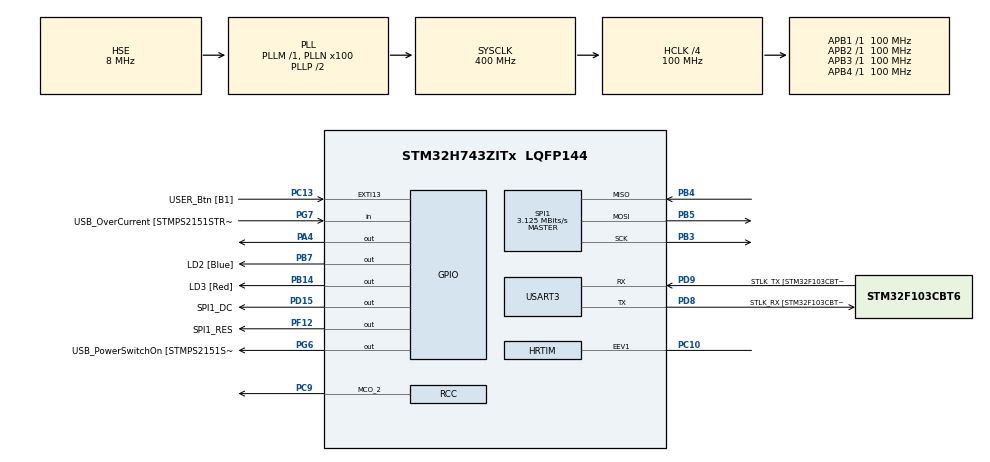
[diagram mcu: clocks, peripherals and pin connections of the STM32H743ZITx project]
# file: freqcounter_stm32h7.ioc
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HRTIM.CaptureUnit1-No_output_TA=HRTIM_CAPTUREUNIT_1
HRTIM.CompareUnit1-MasterTimer=__NULL
HRTIM.Configuration_TA=Waveform
HRTIM.NumberInterruptRequests-No_output_TA=0
HRTIM.NumberResetTrigger-No_output_TA=1
HRTIM.NumberTriggerSource_Captureconfig1-No_output_TA=1
HRTIM.RepetitionCounter-No_output_TA=0xff
HRTIM.ResetTrigger1-No_output_TA=HRTIM_TIMRESETTRIGGER_EEV_1
HRTIM.ResetUpdate-No_output_TA=HRTIM_TIMUPDATEONRESET_DISABLED
HRTIM.TriggerCapture1_Source1-No_output_TA=HRTIM_CAPTURETRIGGER_EEV_1
Mcu.Family=STM32H7
Mcu.Name=STM32H743ZITx
Mcu.Package=LQFP144
NVIC.PriorityGroup=NVIC_PRIORITYGROUP_4
PA13.GPIO_Label=TMS
PA13.Mode=Serial_Wire
PA13.Signal=SYS_JTMS-SWDIO
PA14.GPIO_Label=TCK
PA14.Mode=Serial_Wire
PA14.Signal=SYS_JTCK-SWCLK
PA4.Signal=GPIO_Output
PB14.GPIO_Label=LD3 [Red]
PB14.Signal=GPIO_Output
PB3.Mode=Full_Duplex_Master
PB3.Signal=SPI1_SCK
PB4.Mode=Full_Duplex_Master
PB4.Signal=SPI1_MISO
PB5.Mode=Full_Duplex_Master
PB5.Signal=SPI1_MOSI
PB7.GPIO_Label=LD2 [Blue]
PB7.Signal=GPIO_Output
PC10.GPIO_Speed=GPIO_SPEED_FREQ_VERY_HIGH
PC10.Mode=External_Evt_enable1
PC10.Signal=HRTIM_EEV1
PC13.GPIO_Label=USER_Btn [B1]
PC13.Signal=GPXTI13
PC14-OSC32_IN.Mode=LSE-External-Oscillator
PC14-OSC32_IN.Signal=RCC_OSC32_IN
PC15-OSC32_OUT.Mode=LSE-External-Oscillator
PC15-OSC32_OUT.Signal=RCC_OSC32_OUT
PC9.GPIO_Speed=GPIO_SPEED_FREQ_VERY_HIGH
PC9.Mode=Clock-out-2
PC9.Signal=RCC_MCO_2
PD15.GPIO_Label=SPI1_DC
PD15.Signal=GPIO_Output
PD8.GPIO_Label=STLK_RX [STM32F103CBT6_PA3]
PD8.Mode=Asynchronous
PD8.Signal=USART3_TX
PD9.GPIO_Label=STLK_TX [STM32F103CBT6_PA2]
PD9.Mode=Asynchronous
PD9.Signal=USART3_RX
PF12.GPIO_Label=SPI1_RES
PF12.Signal=GPIO_Output
PG6.GPIO_Label=USB_PowerSwitchOn [STMPS2151STR_EN]
PG6.Signal=GPIO_Output
PG7.GPIO_Label=USB_OverCurrent [STMPS2151STR_FAULT]
PG7.Signal=GPIO_Input
PH0-OSC_IN.GPIO_Label=MCO
PH0-OSC_IN.Mode=HSE-External-Clock-Source
PH0-OSC_IN.Signal=RCC_OSC_IN
PH1-OSC_OUT.Mode=HSE-External-Clock-Source
PH1-OSC_OUT.Signal=RCC_OSC_OUT
ProjectManager.HeapSize=0x200
ProjectManager.StackSize=0x400
ProjectManager.TargetToolchain=TrueSTUDIO
RCC.48MHZClocksFreq_Value=24000000
RCC.ADCFreq_Value=16125000
RCC.AHBFreq_Value=216000000
RCC.APB1CLKDivider=RCC_HCLK_DIV4
RCC.APB1Freq_Value=100000000
RCC.APB1TimFreq_Value=108000000
RCC.APB2CLKDivider=RCC_HCLK_DIV2
RCC.APB2Freq_Value=100000000
RCC.APB2TimFreq_Value=216000000
RCC.APB3Freq_Value=100000000
RCC.APB4Freq_Value=100000000
RCC.CortexFreq_Value=400000000
RCC.DIVM1=1
RCC.DIVN1=100
RCC.DIVQ1=4
RCC.HCLKFreq_Value=100000000
RCC.HPRE=RCC_HCLK_DIV4
RCC.HRTIMCLockSelection=RCC_HRTIM1CLK_CPUCLK
RCC.HSE_VALUE=8000000
RCC.HSI_VALUE=64000000
RCC.PLLM=25
RCC.PLLMUL=RCC_PLL_MUL9
RCC.PLLN=432
RCC.PLLQ=9
RCC.PLLSourceVirtual=RCC_PLLSOURCE_HSE
RCC.PRESCALERUSB=RCC_USBCLKSOURCE_PLL_DIV1_5
RCC.RCC_MCO1Source=RCC_MCO1SOURCE_HSE
RCC.RCC_MCODiv2=RCC_MCODIV_2
RCC.SYSCLKFreq_VALUE=400000000
RCC.SYSCLKSource=RCC_SYSCLKSOURCE_PLLCLK
RCC.SYSCLKSourceVirtual=RCC_SYSCLKSOURCE_PLLCLK
RCC.USBFreq_Value=200000000
RCC.VCOOutputFreq_Value=432000000
SPI1.BaudRatePrescaler=SPI_BAUDRATEPRESCALER_64
SPI1.CLKPolarity=SPI_POLARITY_HIGH
SPI1.CalculateBaudRate=3.125 MBits/s
SPI1.DataSize=SPI_DATASIZE_8BIT
SPI1.Direction=SPI_DIRECTION_2LINES
SPI1.Mode=SPI_MODE_MASTER
SPI1.VirtualType=VM_MASTER
USART3.VirtualMode-Asynchronous=VM_ASYNC
VP_HRTIM_VS_hrtimMasterTimerNoOutput.Mode=MasterTimer
VP_HRTIM_VS_hrtimTimerANoOutput.Mode=No_output_TA
board=NUCLEO-H743ZI

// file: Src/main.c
/**
  ******************************************************************************
  * @file           : main.c
  * @brief          : Main program body
  ******************************************************************************
  ** This notice applies to any and all portions of this file
  * that are not between comment pairs USER CODE BEGIN and
  * USER CODE END. Other portions of this file, whether
  * inserted by the user or by software development tools
  * are owned by their respective copyright owners.
  *
  * COPYRIGHT(c) 2018 STMicroelectronics
  *
  * Redistribution and use in source and binary forms, with or without modification,
  * are permitted provided that the following conditions are met:
  *   1. Redistributions of source code must retain the above copyright notice,
  *      this list of conditions and the following disclaimer.
  *   2. Redistributions in binary form must reproduce the above copyright notice,
  *      this list of conditions and the following disclaimer in the documentation
  *      and/or other materials provided with the distribution.
  *   3. Neither the name of STMicroelectronics nor the names of its contributors
  *      may be used to endorse or promote products derived from this software
  *      without specific prior written permission.
  *
  * THIS SOFTWARE IS PROVIDED BY THE COPYRIGHT HOLDERS AND CONTRIBUTORS "AS IS"
  * AND ANY EXPRESS OR IMPLIED WARRANTIES, INCLUDING, BUT NOT LIMITED TO, THE
  * IMPLIED WARRANTIES OF MERCHANTABILITY AND FITNESS FOR A PARTICULAR PURPOSE ARE
  * DISCLAIMED. IN NO EVENT SHALL THE COPYRIGHT HOLDER OR CONTRIBUTORS BE LIABLE
  * FOR ANY DIRECT, INDIRECT, INCIDENTAL, SPECIAL, EXEMPLARY, OR CONSEQUENTIAL
  * DAMAGES (INCLUDING, BUT NOT LIMITED TO, PROCUREMENT OF SUBSTITUTE GOODS OR
  * SERVICES; LOSS OF USE, DATA, OR PROFITS; OR BUSINESS INTERRUPTION) HOWEVER
  * CAUSED AND ON ANY THEORY OF LIABILITY, WHETHER IN CONTRACT, STRICT LIABILITY,
  * OR TORT (INCLUDING NEGLIGENCE OR OTHERWISE) ARISING IN ANY WAY OUT OF THE USE
  * OF THIS SOFTWARE, EVEN IF ADVISED OF THE POSSIBILITY OF SUCH DAMAGE.
  *
  ******************************************************************************
  */
#include "main.h"
#include "stm32h7xx_hal.h"

/* USER CODE BEGIN Includes */
#include "ssd1306.h"
#include "ssd1306_fonts.h"

/* USER CODE END Includes */

HRTIM_HandleTypeDef hhrtim;

SPI_HandleTypeDef hspi1;

UART_HandleTypeDef huart3;

/* USER CODE BEGIN PV */
/* Private variables ---------------------------------------------------------*/

/* USER CODE END PV */

void SystemClock_Config(void);
static void MX_GPIO_Init(void);
static void MX_USART3_UART_Init(void);
static void MX_HRTIM_Init(void);
static void MX_SPI1_Init(void);

/* USER CODE BEGIN PFP */
/* Private function prototypes -----------------------------------------------*/
uint32_t timer;
/* USER CODE END PFP */

int main(void)
{

  /* MCU Configuration----------------------------------------------------------*/

  /* Reset of all peripherals, Initializes the Flash interface and the Systick. */
  HAL_Init();

  /* Configure the system clock */
  SystemClock_Config();

  /* Initialize all configured peripherals */
  MX_GPIO_Init();
  MX_USART3_UART_Init();
  MX_HRTIM_Init();
  MX_SPI1_Init();
  /* USER CODE BEGIN 2 */

  ssd1306_Init();
  ssd1306_Fill(Black);

  HAL_UART_Transmit(&huart3, "Welcome\r\n", strlen("Welcome\r\n"), 10000);
  ssd1306_SetCursor(2, 0);
  ssd1306_WriteString("Welcome", Font_11x18, White);

  HAL_HRTIM_WaveformCounterStart(&hhrtim, HRTIM_TIMERID_TIMER_A);

  /* USER CODE END 2 */

  /* Infinite loop */
  /* USER CODE BEGIN WHILE */
  while (1)
  {
	  uint8_t str[80];

	  uint16_t capturedValue = HAL_HRTIM_GetCapturedValue(&hhrtim, HRTIM_TIMERINDEX_TIMER_A, HRTIM_CAPTUREUNIT_1);

	  float frequency = 400000000.0 / ((float) capturedValue +1) / 1000.0;

	  snprintf(str, 80, "(%10d) Timer value: [%d], Estimated Frequency: %f kHz\r\n",
			  HAL_GetTick(),
			  capturedValue,
			  frequency
	  );
	  HAL_UART_Transmit(&huart3, str, strlen(str), 10000);

	  ssd1306_SetCursor(1, 0);
	  snprintf(str, 80, "%6.3f kHz      ", frequency);
	  ssd1306_WriteString(str, Font_11x18, White);

	  ssd1306_SetCursor(2,26);
	  snprintf(str, 80, "[Pulse] %5d tks     ", capturedValue);
	  ssd1306_WriteString(str, Font_7x10, White);

	  ssd1306_SetCursor(2,50);
	  if (HAL_GetTick() % 1000 < 500) {
		  ssd1306_WriteChar('>', Font_7x10, White);
	  } else {
		  ssd1306_WriteChar(' ', Font_7x10, White);
	  }

	  ssd1306_UpdateScreen();
	  HAL_Delay(20);

  /* USER CODE END WHILE */

  }

}

void SystemClock_Config(void)
{

  RCC_OscInitTypeDef RCC_OscInitStruct;
  RCC_ClkInitTypeDef RCC_ClkInitStruct;
  RCC_PeriphCLKInitTypeDef PeriphClkInitStruct;

    /**Supply configuration update enable
    */
  MODIFY_REG(PWR->CR3, PWR_CR3_SCUEN, 0);

    /**Configure the main internal regulator output voltage
    */
  __HAL_PWR_VOLTAGESCALING_CONFIG(PWR_REGULATOR_VOLTAGE_SCALE1);

  while ((PWR->D3CR & (PWR_D3CR_VOSRDY)) != PWR_D3CR_VOSRDY)
  {

  }
    /**Initializes the CPU, AHB and APB busses clocks
    */
  RCC_OscInitStruct.OscillatorType = RCC_OSCILLATORTYPE_HSE;
  RCC_OscInitStruct.HSEState = RCC_HSE_BYPASS;
  RCC_OscInitStruct.PLL.PLLState = RCC_PLL_ON;
  RCC_OscInitStruct.PLL.PLLSource = RCC_PLLSOURCE_HSE;
  RCC_OscInitStruct.PLL.PLLM = 1;
  RCC_OscInitStruct.PLL.PLLN = 100;
  RCC_OscInitStruct.PLL.PLLP = 2;
  RCC_OscInitStruct.PLL.PLLQ = 4;
  RCC_OscInitStruct.PLL.PLLR = 2;
  RCC_OscInitStruct.PLL.PLLRGE = RCC_PLL1VCIRANGE_3;
  RCC_OscInitStruct.PLL.PLLVCOSEL = RCC_PLL1VCOWIDE;
  RCC_OscInitStruct.PLL.PLLFRACN = 0;
  if (HAL_RCC_OscConfig(&RCC_OscInitStruct) != HAL_OK)
  {
    _Error_Handler(__FILE__, __LINE__);
  }

    /**Initializes the CPU, AHB and APB busses clocks
    */
  RCC_ClkInitStruct.ClockType = RCC_CLOCKTYPE_HCLK|RCC_CLOCKTYPE_SYSCLK
                              |RCC_CLOCKTYPE_PCLK1|RCC_CLOCKTYPE_PCLK2
                              |RCC_CLOCKTYPE_D3PCLK1|RCC_CLOCKTYPE_D1PCLK1;
  RCC_ClkInitStruct.SYSCLKSource = RCC_SYSCLKSOURCE_PLLCLK;
  RCC_ClkInitStruct.SYSCLKDivider = RCC_SYSCLK_DIV1;
  RCC_ClkInitStruct.AHBCLKDivider = RCC_HCLK_DIV4;
  RCC_ClkInitStruct.APB3CLKDivider = RCC_APB3_DIV1;
  RCC_ClkInitStruct.APB1CLKDivider = RCC_APB1_DIV1;
  RCC_ClkInitStruct.APB2CLKDivider = RCC_APB2_DIV1;
  RCC_ClkInitStruct.APB4CLKDivider = RCC_APB4_DIV1;

  if (HAL_RCC_ClockConfig(&RCC_ClkInitStruct, FLASH_LATENCY_1) != HAL_OK)
  {
    _Error_Handler(__FILE__, __LINE__);
  }

  PeriphClkInitStruct.PeriphClockSelection = RCC_PERIPHCLK_HRTIM1|RCC_PERIPHCLK_USART3
                              |RCC_PERIPHCLK_SPI1;
  PeriphClkInitStruct.Spi123ClockSelection = RCC_SPI123CLKSOURCE_PLL;
  PeriphClkInitStruct.Usart234578ClockSelection = RCC_USART234578CLKSOURCE_D2PCLK1;
  PeriphClkInitStruct.Hrtim1ClockSelection = RCC_HRTIM1CLK_CPUCLK;
  if (HAL_RCCEx_PeriphCLKConfig(&PeriphClkInitStruct) != HAL_OK)
  {
    _Error_Handler(__FILE__, __LINE__);
  }

  HAL_RCC_MCOConfig(RCC_MCO2, RCC_MCO2SOURCE_SYSCLK, RCC_MCODIV_2);

    /**Configure the Systick interrupt time
    */
  HAL_SYSTICK_Config(SystemCoreClock/1000);

    /**Configure the Systick
    */
  HAL_SYSTICK_CLKSourceConfig(SYSTICK_CLKSOURCE_HCLK);

  /* SysTick_IRQn interrupt configuration */
  HAL_NVIC_SetPriority(SysTick_IRQn, 0, 0);
}

/* HRTIM init function */
static void MX_HRTIM_Init(void)
{

  HRTIM_EventCfgTypeDef pEventCfg;
  HRTIM_TimeBaseCfgTypeDef pTimeBaseCfg;
  HRTIM_TimerCfgTypeDef pTimerCfg;
  HRTIM_CaptureCfgTypeDef pCaptureCfg;

  hhrtim.Instance = HRTIM1;
  hhrtim.Init.HRTIMInterruptResquests = HRTIM_IT_NONE;
  hhrtim.Init.SyncOptions = HRTIM_SYNCOPTION_NONE;
  if (HAL_HRTIM_Init(&hhrtim) != HAL_OK)
  {
    _Error_Handler(__FILE__, __LINE__);
  }

  if (HAL_HRTIM_EventPrescalerConfig(&hhrtim, HRTIM_EVENTPRESCALER_DIV1) != HAL_OK)
  {
    _Error_Handler(__FILE__, __LINE__);
  }

  pEventCfg.Source = HRTIM_EVENTSRC_1;
  pEventCfg.Polarity = HRTIM_EVENTPOLARITY_HIGH;
  pEventCfg.Sensitivity = HRTIM_EVENTSENSITIVITY_LEVEL;
  pEventCfg.FastMode = HRTIM_EVENTFASTMODE_DISABLE;
  if (HAL_HRTIM_EventConfig(&hhrtim, HRTIM_EVENT_1, &pEventCfg) != HAL_OK)
  {
    _Error_Handler(__FILE__, __LINE__);
  }

  pTimeBaseCfg.Period = 0xFFFD;
  pTimeBaseCfg.RepetitionCounter = 0x00;
  pTimeBaseCfg.PrescalerRatio = HRTIM_PRESCALERRATIO_DIV1;
  pTimeBaseCfg.Mode = HRTIM_MODE_CONTINUOUS;
  if (HAL_HRTIM_TimeBaseConfig(&hhrtim, HRTIM_TIMERINDEX_MASTER, &pTimeBaseCfg) != HAL_OK)
  {
    _Error_Handler(__FILE__, __LINE__);
  }

  pTimerCfg.InterruptRequests = HRTIM_MASTER_IT_NONE;
  pTimerCfg.DMARequests = HRTIM_MASTER_DMA_NONE;
  pTimerCfg.DMASrcAddress = 0x0000;
  pTimerCfg.DMADstAddress = 0x0000;
  pTimerCfg.DMASize = 0x1;
  pTimerCfg.HalfModeEnable = HRTIM_HALFMODE_DISABLED;
  pTimerCfg.StartOnSync = HRTIM_SYNCSTART_DISABLED;
  pTimerCfg.ResetOnSync = HRTIM_SYNCRESET_DISABLED;
  pTimerCfg.DACSynchro = HRTIM_DACSYNC_NONE;
  pTimerCfg.PreloadEnable = HRTIM_PRELOAD_DISABLED;
  pTimerCfg.UpdateGating = HRTIM_UPDATEGATING_INDEPENDENT;
  pTimerCfg.BurstMode = HRTIM_TIMERBURSTMODE_MAINTAINCLOCK;
  pTimerCfg.RepetitionUpdate = HRTIM_UPDATEONREPETITION_DISABLED;
  if (HAL_HRTIM_WaveformTimerConfig(&hhrtim, HRTIM_TIMERINDEX_MASTER, &pTimerCfg) != HAL_OK)
  {
    _Error_Handler(__FILE__, __LINE__);
  }

  pTimeBaseCfg.RepetitionCounter = 0xff;
  if (HAL_HRTIM_TimeBaseConfig(&hhrtim, HRTIM_TIMERINDEX_TIMER_A, &pTimeBaseCfg) != HAL_OK)
  {
    _Error_Handler(__FILE__, __LINE__);
  }

  pTimerCfg.InterruptRequests = HRTIM_TIM_IT_NONE;
  pTimerCfg.DMARequests = HRTIM_TIM_DMA_NONE;
  pTimerCfg.DMASrcAddress = 0x0000;
  pTimerCfg.DMADstAddress = 0x0000;
  pTimerCfg.DMASize = 0x1;
  pTimerCfg.PushPull = HRTIM_TIMPUSHPULLMODE_DISABLED;
  pTimerCfg.FaultEnable = HRTIM_TIMFAULTENABLE_NONE;
  pTimerCfg.FaultLock = HRTIM_TIMFAULTLOCK_READWRITE;
  pTimerCfg.DeadTimeInsertion = HRTIM_TIMDEADTIMEINSERTION_DISABLED;
  pTimerCfg.DelayedProtectionMode = HRTIM_TIMER_A_B_C_DELAYEDPROTECTION_DISABLED;
  pTimerCfg.UpdateTrigger = HRTIM_TIMUPDATETRIGGER_NONE;
  pTimerCfg.ResetTrigger = HRTIM_TIMRESETTRIGGER_EEV_1;
  pTimerCfg.ResetUpdate = HRTIM_TIMUPDATEONRESET_DISABLED;
  if (HAL_HRTIM_WaveformTimerConfig(&hhrtim, HRTIM_TIMERINDEX_TIMER_A, &pTimerCfg) != HAL_OK)
  {
    _Error_Handler(__FILE__, __LINE__);
  }

  pCaptureCfg.Trigger = HRTIM_CAPTURETRIGGER_EEV_1;
  if (HAL_HRTIM_WaveformCaptureConfig(&hhrtim, HRTIM_TIMERINDEX_TIMER_A, HRTIM_CAPTUREUNIT_1, &pCaptureCfg) != HAL_OK)
  {
    _Error_Handler(__FILE__, __LINE__);
  }

}

/* SPI1 init function */
static void MX_SPI1_Init(void)
{

  /* SPI1 parameter configuration*/
  hspi1.Instance = SPI1;
  hspi1.Init.Mode = SPI_MODE_MASTER;
  hspi1.Init.Direction = SPI_DIRECTION_2LINES;
  hspi1.Init.DataSize = SPI_DATASIZE_8BIT;
  hspi1.Init.CLKPolarity = SPI_POLARITY_HIGH;
  hspi1.Init.CLKPhase = SPI_PHASE_1EDGE;
  hspi1.Init.NSS = SPI_NSS_SOFT;
  hspi1.Init.BaudRatePrescaler = SPI_BAUDRATEPRESCALER_64;
  hspi1.Init.FirstBit = SPI_FIRSTBIT_MSB;
  hspi1.Init.TIMode = SPI_TIMODE_DISABLE;
  hspi1.Init.CRCCalculation = SPI_CRCCALCULATION_DISABLE;
  hspi1.Init.CRCPolynomial = 7;
  hspi1.Init.NSSPMode = SPI_NSS_PULSE_ENABLE;
  hspi1.Init.NSSPolarity = SPI_NSS_POLARITY_LOW;
  hspi1.Init.FifoThreshold = SPI_FIFO_THRESHOLD_01DATA;
  hspi1.Init.TxCRCInitializationPattern = SPI_CRC_INITIALIZATION_ALL_ZERO_PATTERN;
  hspi1.Init.RxCRCInitializationPattern = SPI_CRC_INITIALIZATION_ALL_ZERO_PATTERN;
  hspi1.Init.MasterSSIdleness = SPI_MASTER_SS_IDLENESS_00CYCLE;
  hspi1.Init.MasterInterDataIdleness = SPI_MASTER_INTERDATA_IDLENESS_00CYCLE;
  hspi1.Init.MasterReceiverAutoSusp = SPI_MASTER_RX_AUTOSUSP_DISABLE;
  hspi1.Init.MasterKeepIOState = SPI_MASTER_KEEP_IO_STATE_DISABLE;
  hspi1.Init.IOSwap = SPI_IO_SWAP_DISABLE;
  if (HAL_SPI_Init(&hspi1) != HAL_OK)
  {
    _Error_Handler(__FILE__, __LINE__);
  }

}

/* USART3 init function */
static void MX_USART3_UART_Init(void)
{

  huart3.Instance = USART3;
  huart3.Init.BaudRate = 115200;
  huart3.Init.WordLength = UART_WORDLENGTH_8B;
  huart3.Init.StopBits = UART_STOPBITS_1;
  huart3.Init.Parity = UART_PARITY_NONE;
  huart3.Init.Mode = UART_MODE_TX_RX;
  huart3.Init.HwFlowCtl = UART_HWCONTROL_NONE;
  huart3.Init.OverSampling = UART_OVERSAMPLING_16;
  huart3.Init.OneBitSampling = UART_ONE_BIT_SAMPLE_DISABLE;
  huart3.Init.Prescaler = UART_PRESCALER_DIV1;
  huart3.Init.FIFOMode = UART_FIFOMODE_DISABLE;
  huart3.Init.TXFIFOThreshold = UART_TXFIFO_THRESHOLD_1_8;
  huart3.Init.RXFIFOThreshold = UART_RXFIFO_THRESHOLD_1_8;
  huart3.AdvancedInit.AdvFeatureInit = UART_ADVFEATURE_NO_INIT;
  if (HAL_UART_Init(&huart3) != HAL_OK)
  {
    _Error_Handler(__FILE__, __LINE__);
  }

}

/** Configure pins as
        * Analog
        * Input
        * Output
        * EVENT_OUT
        * EXTI
     PC9   ------> RCC_MCO_2
*/
static void MX_GPIO_Init(void)
{

  GPIO_InitTypeDef GPIO_InitStruct;

  /* GPIO Ports Clock Enable */
  __HAL_RCC_GPIOC_CLK_ENABLE();
  __HAL_RCC_GPIOH_CLK_ENABLE();
  __HAL_RCC_GPIOA_CLK_ENABLE();
  __HAL_RCC_GPIOF_CLK_ENABLE();
  __HAL_RCC_GPIOB_CLK_ENABLE();
  __HAL_RCC_GPIOD_CLK_ENABLE();
  __HAL_RCC_GPIOG_CLK_ENABLE();

  /*Configure GPIO pin Output Level */
  HAL_GPIO_WritePin(GPIOA, GPIO_PIN_4, GPIO_PIN_RESET);

  /*Configure GPIO pin Output Level */
  HAL_GPIO_WritePin(SPI1_RES_GPIO_Port, SPI1_RES_Pin, GPIO_PIN_RESET);

  /*Configure GPIO pin Output Level */
  HAL_GPIO_WritePin(GPIOB, LD3_Pin|LD2_Pin, GPIO_PIN_RESET);

  /*Configure GPIO pin Output Level */
  HAL_GPIO_WritePin(SPI1_DC_GPIO_Port, SPI1_DC_Pin, GPIO_PIN_RESET);

  /*Configure GPIO pin Output Level */
  HAL_GPIO_WritePin(USB_PowerSwitchOn_GPIO_Port, USB_PowerSwitchOn_Pin, GPIO_PIN_RESET);

  /*Configure GPIO pin : USER_Btn_Pin */
  GPIO_InitStruct.Pin = USER_Btn_Pin;
  GPIO_InitStruct.Mode = GPIO_MODE_IT_RISING;
  GPIO_InitStruct.Pull = GPIO_NOPULL;
  HAL_GPIO_Init(USER_Btn_GPIO_Port, &GPIO_InitStruct);

  /*Configure GPIO pin : PA4 */
  GPIO_InitStruct.Pin = GPIO_PIN_4;
  GPIO_InitStruct.Mode = GPIO_MODE_OUTPUT_PP;
  GPIO_InitStruct.Pull = GPIO_NOPULL;
  GPIO_InitStruct.Speed = GPIO_SPEED_FREQ_LOW;
  HAL_GPIO_Init(GPIOA, &GPIO_InitStruct);

  /*Configure GPIO pin : SPI1_RES_Pin */
  GPIO_InitStruct.Pin = SPI1_RES_Pin;
  GPIO_InitStruct.Mode = GPIO_MODE_OUTPUT_PP;
  GPIO_InitStruct.Pull = GPIO_NOPULL;
  GPIO_InitStruct.Speed = GPIO_SPEED_FREQ_LOW;
  HAL_GPIO_Init(SPI1_RES_GPIO_Port, &GPIO_InitStruct);

  /*Configure GPIO pins : LD3_Pin LD2_Pin */
  GPIO_InitStruct.Pin = LD3_Pin|LD2_Pin;
  GPIO_InitStruct.Mode = GPIO_MODE_OUTPUT_PP;
  GPIO_InitStruct.Pull = GPIO_NOPULL;
  GPIO_InitStruct.Speed = GPIO_SPEED_FREQ_LOW;
  HAL_GPIO_Init(GPIOB, &GPIO_InitStruct);

  /*Configure GPIO pin : SPI1_DC_Pin */
  GPIO_InitStruct.Pin = SPI1_DC_Pin;
  GPIO_InitStruct.Mode = GPIO_MODE_OUTPUT_PP;
  GPIO_InitStruct.Pull = GPIO_NOPULL;
  GPIO_InitStruct.Speed = GPIO_SPEED_FREQ_LOW;
  HAL_GPIO_Init(SPI1_DC_GPIO_Port, &GPIO_InitStruct);

  /*Configure GPIO pin : USB_PowerSwitchOn_Pin */
  GPIO_InitStruct.Pin = USB_PowerSwitchOn_Pin;
  GPIO_InitStruct.Mode = GPIO_MODE_OUTPUT_PP;
  GPIO_InitStruct.Pull = GPIO_NOPULL;
  GPIO_InitStruct.Speed = GPIO_SPEED_FREQ_LOW;
  HAL_GPIO_Init(USB_PowerSwitchOn_GPIO_Port, &GPIO_InitStruct);

  /*Configure GPIO pin : USB_OverCurrent_Pin */
  GPIO_InitStruct.Pin = USB_OverCurrent_Pin;
  GPIO_InitStruct.Mode = GPIO_MODE_INPUT;
  GPIO_InitStruct.Pull = GPIO_NOPULL;
  HAL_GPIO_Init(USB_OverCurrent_GPIO_Port, &GPIO_InitStruct);

  /*Configure GPIO pin : PC9 */
  GPIO_InitStruct.Pin = GPIO_PIN_9;
  GPIO_InitStruct.Mode = GPIO_MODE_AF_PP;
  GPIO_InitStruct.Pull = GPIO_NOPULL;
  GPIO_InitStruct.Speed = GPIO_SPEED_FREQ_VERY_HIGH;
  GPIO_InitStruct.Alternate = GPIO_AF0_MCO;
  HAL_GPIO_Init(GPIOC, &GPIO_InitStruct);

}

void _Error_Handler(char *file, int line)
{
  while(1)
  {
  }
}

/************************ (C) COPYRIGHT STMicroelectronics *****END OF FILE****/
